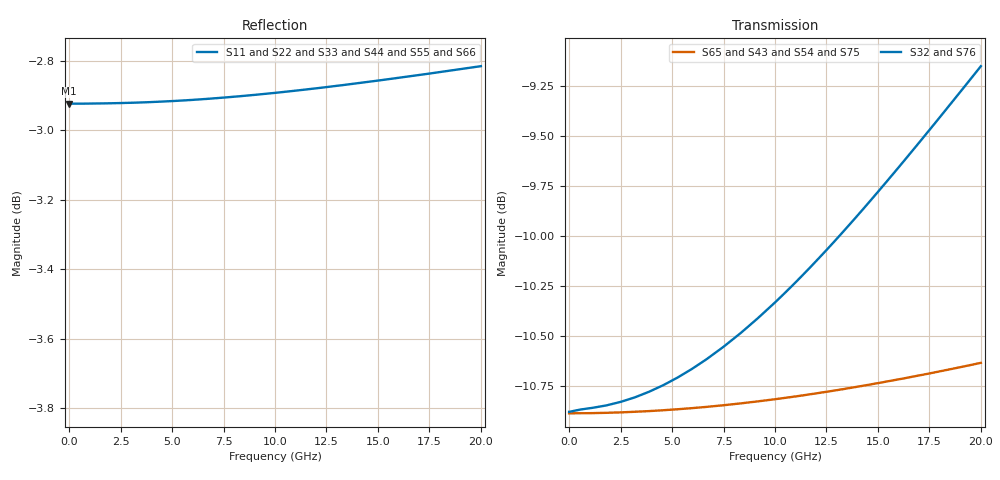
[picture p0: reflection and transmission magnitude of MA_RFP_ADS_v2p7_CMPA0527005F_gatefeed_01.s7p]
! Created Thu Oct 05 12:28:04 2017
! List of port names and net name(s): example Port n = <port_name> <net_name1> <net_name2> ...
! Port 1 = P1 P7
! Port 2 = P2 P7
! Port 3 = P3 P7
! Port 4 = P4 P7
! Port 5 = P5 P7
! Port 6 = P6 P7
! Port 7 = P7 P7
# hz S ma R 50
! 7 Port Network Data from data block
! freq  magS11  angS11  magS12  angS12  magS13  angS13  magS14  angS14
!  magS15  angS15  magS16  angS16  magS17  angS17
!  magS21  angS21
!  magS22  angS22  magS23  angS23  magS24  angS24  magS25  angS25
!  magS26  angS26  magS27  angS27
!  magS31  angS31  magS32  angS32
!  magS33  angS33  magS34  angS34  magS35  angS35  magS36  angS36
!  magS37  angS37
!  magS41  angS41  magS42  angS42  magS43  angS43
!  magS44  angS44  magS45  angS45  magS46  angS46  magS47  angS47
!  magS51  angS51  magS52  angS52  magS53  angS53  magS54  angS54
!  magS55  angS55  magS56  angS56  magS57  angS57
!  magS61  angS61
!  magS62  angS62  magS63  angS63  magS64  angS64  magS65  angS65
!  magS66  angS66  magS67  angS67
!  magS71  angS71  magS72  angS72
!  magS73  angS73  magS74  angS74  magS75  angS75  magS76  angS76
!  magS77  angS77
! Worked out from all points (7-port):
!   48 points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, 2.778 Hz to 20 GHz, reference 50 ohm
!   strongest paths, dB at 2.778 Hz, 1.806 GHz, 10.42 GHz, 15.42 GHz, 20 GHz:
!     S32: -10.9, -10.8, -10.3, -9.7, -9.1
!     S76: -10.9, -10.8, -10.3, -9.7, -9.2
!     S65: -10.9, -10.9, -10.8, -10.7, -10.6
!     S43: -10.9, -10.9, -10.8, -10.7, -10.6
!     S54: -10.9, -10.9, -10.8, -10.8, -10.7
!     S75: -10.9, -10.9, -10.8, -10.8, -10.7
!   lowest |S11| = -2.9 dB at 2.778 MHz (marker M1), VSWR 6.00, Z = 8.34 + j7.38e-05 ohm
!   |S11| at or under -10 dB: nowhere
